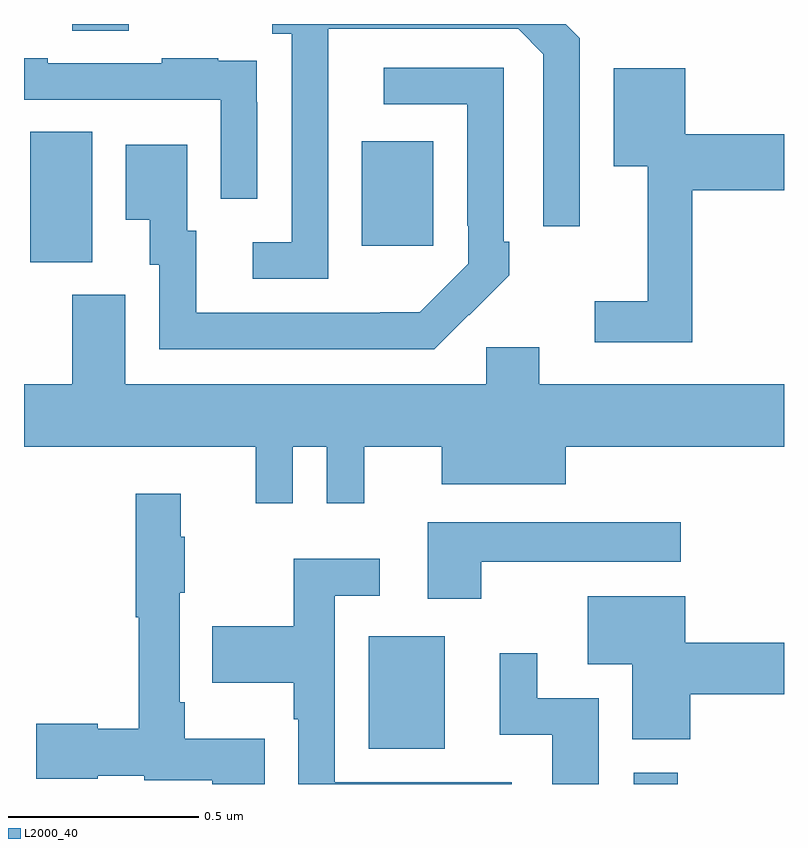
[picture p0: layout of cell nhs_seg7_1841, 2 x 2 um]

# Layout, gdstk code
import gdstk
lib = gdstk.Library(unit=1e-6, precision=1e-09)
def R(c, l, rs):  # rectangles x0, y0, x1, y1
    for r in rs: c.add(gdstk.rectangle(r[:2], r[2:], *l))
def P(c, l, *ps):  # polygons
    for p in ps: c.add(gdstk.Polygon(p, *l))
L2000_40 = (2000, 40)

nhs_seg7_1841 = lib.new_cell('nhs_seg7_1841')
R(nhs_seg7_1841, L2000_40, [(137.604,1061,137.72,1061.029), (136.907,1061.093,137.107,1061.389), (136.016,1062.373,136.18,1062.716), (136.889,1062.417,137.077,1062.691), (136.127,1062.982,136.275,1063)])
P(nhs_seg7_1841, L2000_40, [(136.8,1062.787),(136.801,1062.787),(136.801,1062.987),(137.301,1062.987),(137.367,1062.921),(137.367,1062.468),(137.463,1062.468),(137.463,1062.963),(137.426,1063),(136.653,1063),(136.653,1062.974),(136.704,1062.974),(136.704,1062.426),(136.602,1062.426),(136.602,1062.33),(136.8,1062.33)],
  [(136.614,1062.794),(136.613,1062.794),(136.613,1062.903),(136.511,1062.903),(136.511,1062.91),(136.363,1062.91),(136.363,1062.897),(136.063,1062.897),(136.063,1062.91),(136,1062.91),(136,1062.801),(136.518,1062.801),(136.518,1062.54),(136.614,1062.54)],
  [(137.171,1062.235),(137.172,1062.234),(137.277,1062.339),(137.277,1062.427),(137.262,1062.427),(137.262,1062.885),(136.947,1062.885),(136.947,1062.789),(137.166,1062.789),(137.166,1062.469),(137.169,1062.469),(137.169,1062.369),(137.041,1062.241),(136.937,1062.241),(136.937,1062.24),(136.453,1062.24),(136.453,1062.456),(136.429,1062.456),(136.429,1062.682),(136.268,1062.682),(136.268,1062.485),(136.331,1062.485),(136.331,1062.366),(136.356,1062.366),(136.356,1062.144),(137.08,1062.144)],
  [(137.759,1062.563),(138,1062.563),(138,1062.71),(137.74,1062.71),(137.74,1062.883),(137.552,1062.883),(137.552,1062.626),(137.642,1062.626),(137.642,1062.271),(137.502,1062.271),(137.502,1062.162),(137.759,1062.162)],
  [(136.267,1062.288),(136.127,1062.288),(136.127,1062.052),(136,1062.052),(136,1061.888),(136.61,1061.888),(136.61,1061.739),(136.707,1061.739),(136.707,1061.888),(136.797,1061.888),(136.797,1061.739),(136.895,1061.739),(136.895,1061.888),(137.099,1061.888),(137.099,1061.789),(137.425,1061.789),(137.425,1061.888),(138,1061.888),(138,1062.052),(137.356,1062.052),(137.356,1062.15),(137.217,1062.15),(137.217,1062.052),(136.267,1062.052)],
  [(136.633,1061.119),(136.423,1061.119),(136.423,1061.215),(136.41,1061.215),(136.41,1061.503),(136.423,1061.503),(136.423,1061.651),(136.412,1061.651),(136.412,1061.764),(136.294,1061.764),(136.294,1061.439),(136.302,1061.439),(136.302,1061.146),(136.194,1061.146),(136.194,1061.158),(136.032,1061.158),(136.032,1061.014),(136.194,1061.014),(136.194,1061.022),(136.317,1061.022),(136.317,1061.01),(136.495,1061.01),(136.495,1061),(136.633,1061)],
  [(137.203,1061.585),(137.728,1061.585),(137.728,1061.689),(137.063,1061.689),(137.063,1061.487),(137.203,1061.487)],
  [(137.284,1061.004),(136.818,1061.004),(136.818,1061.496),(136.936,1061.496),(136.936,1061.593),(136.71,1061.593),(136.71,1061.415),(136.495,1061.415),(136.495,1061.267),(136.71,1061.267),(136.71,1061.171),(136.722,1061.171),(136.722,1061),(137.284,1061)],
  [(137.753,1061.236),(138,1061.236),(138,1061.372),(137.74,1061.372),(137.74,1061.494),(137.483,1061.494),(137.483,1061.315),(137.6,1061.315),(137.6,1061.118),(137.753,1061.118)],
  [(137.512,1061.226),(137.35,1061.226),(137.35,1061.344),(137.252,1061.344),(137.252,1061.13),(137.39,1061.13),(137.39,1061),(137.512,1061)])

lib.write_gds('nhs_seg7_1841.gds')
